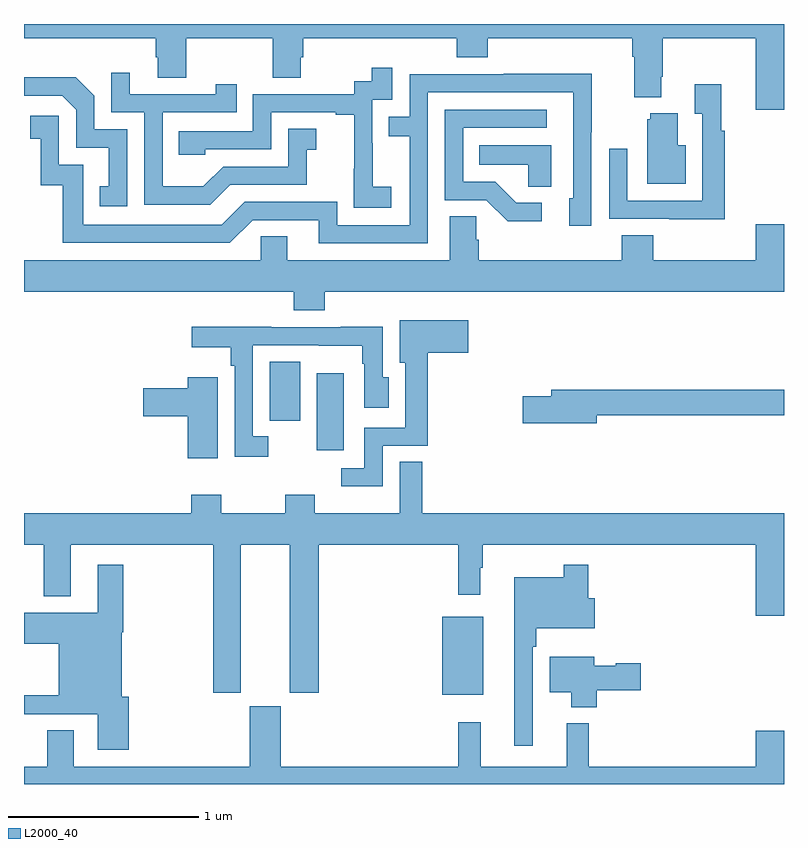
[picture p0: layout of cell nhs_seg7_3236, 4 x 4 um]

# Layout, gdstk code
import gdstk
lib = gdstk.Library(unit=1e-6, precision=1e-09)
def R(c, l, rs):  # rectangles x0, y0, x1, y1
    for r in rs: c.add(gdstk.rectangle(r[:2], r[2:], *l))
def P(c, l, *ps):  # polygons
    for p in ps: c.add(gdstk.Polygon(p, *l))
L2000_40 = (2000, 40)

nhs_seg7_3236 = lib.new_cell('nhs_seg7_3236')
R(nhs_seg7_3236, L2000_40, [(319.202,1022.471,319.417,1022.881), (318.542,1023.756,318.682,1024.162), (318.293,1023.912,318.454,1024.223)])
P(nhs_seg7_3236, L2000_40, [(321,1026),(317,1026),(317,1025.924),(317.693,1025.924),(317.693,1025.826),(317.705,1025.826),(317.705,1025.716),(317.853,1025.716),(317.853,1025.924),(318.31,1025.924),(318.31,1025.716),(318.457,1025.716),(318.457,1025.826),(318.47,1025.826),(318.47,1025.924),(319.277,1025.924),(319.277,1025.825),(319.442,1025.825),(319.442,1025.924),(320.201,1025.924),(320.201,1025.828),(320.213,1025.828),(320.213,1025.615),(320.353,1025.615),(320.353,1025.722),(320.361,1025.722),(320.361,1025.924),(320.852,1025.924),(320.852,1025.55),(321,1025.55)],
  [(318.934,1025.143),(318.836,1025.143),(318.836,1025.372),(318.834,1025.372),(318.834,1025.601),(318.939,1025.601),(318.939,1025.77),(318.831,1025.77),(318.831,1025.7),(318.738,1025.7),(318.738,1025.631),(318.204,1025.631),(318.204,1025.436),(317.815,1025.436),(317.815,1025.313),(317.955,1025.313),(317.955,1025.34),(318.3,1025.34),(318.3,1025.535),(318.641,1025.535),(318.641,1025.523),(318.737,1025.523),(318.737,1025.239),(318.736,1025.239),(318.736,1025.033),(318.934,1025.033)],
  [(318.085,1025.154),(318.489,1025.154),(318.489,1025.339),(318.538,1025.339),(318.538,1025.449),(318.39,1025.449),(318.39,1025.25),(318.048,1025.25),(317.944,1025.146),(317.73,1025.146),(317.73,1025.535),(318.119,1025.535),(318.119,1025.683),(318.008,1025.683),(318.008,1025.631),(317.557,1025.631),(317.557,1025.743),(317.46,1025.743),(317.46,1025.535),(317.634,1025.535),(317.634,1025.049),(317.98,1025.049)],
  [(319.125,1025.64),(319.89,1025.64),(319.89,1025.082),(319.871,1025.082),(319.871,1024.938),(319.986,1024.938),(319.986,1025.431),(319.989,1025.431),(319.989,1025.738),(319.525,1025.738),(319.525,1025.736),(319.029,1025.736),(319.029,1025.511),(318.919,1025.511),(318.919,1025.41),(319.029,1025.41),(319.029,1024.941),(318.648,1024.941),(318.648,1025.064),(318.162,1025.064),(318.042,1024.944),(317.313,1024.944),(317.313,1025.259),(317.184,1025.259),(317.184,1025.518),(317.034,1025.518),(317.034,1025.397),(317.087,1025.397),(317.087,1025.151),(317.205,1025.151),(317.205,1024.848),(318.084,1024.848),(318.204,1024.968),(318.551,1024.968),(318.551,1024.845),(319.125,1024.845)],
  [(317.544,1025.445),(317.37,1025.445),(317.37,1025.622),(317.272,1025.72),(317,1025.72),(317,1025.622),(317.202,1025.622),(317.274,1025.55),(317.274,1025.349),(317.447,1025.349),(317.447,1025.145),(317.398,1025.145),(317.398,1025.04),(317.544,1025.04)],
  [(320.687,1025.438),(320.669,1025.438),(320.669,1025.683),(320.531,1025.683),(320.531,1025.527),(320.571,1025.527),(320.571,1025.07),(320.175,1025.07),(320.175,1025.344),(320.079,1025.344),(320.079,1024.974),(320.395,1024.974),(320.395,1024.973),(320.687,1024.973)],
  [(319.726,1025.058),(319.591,1025.058),(319.48,1025.169),(319.311,1025.169),(319.311,1025.454),(319.75,1025.454),(319.75,1025.55),(319.215,1025.55),(319.215,1025.073),(319.434,1025.073),(319.547,1024.961),(319.726,1024.961)],
  [(320.482,1025.362),(320.44,1025.362),(320.44,1025.53),(320.297,1025.53),(320.297,1025.499),(320.279,1025.499),(320.279,1025.159),(320.482,1025.159)],
  [(319.774,1025.362),(319.396,1025.362),(319.396,1025.258),(319.653,1025.258),(319.653,1025.143),(319.774,1025.143)],
  [(318.584,1024.592),(321,1024.592),(321,1024.945),(320.852,1024.945),(320.852,1024.756),(320.312,1024.756),(320.312,1024.889),(320.147,1024.889),(320.147,1024.756),(319.394,1024.756),(319.394,1024.865),(319.38,1024.865),(319.38,1024.988),(319.241,1024.988),(319.241,1024.756),(318.385,1024.756),(318.385,1024.883),(318.246,1024.883),(318.246,1024.756),(317,1024.756),(317,1024.592),(318.419,1024.592),(318.419,1024.493),(318.584,1024.493)],
  [(318.888,1023.78),(319.126,1023.78),(319.126,1024.271),(319.339,1024.271),(319.339,1024.441),(318.977,1024.441),(318.977,1024.217),(319.007,1024.217),(319.007,1023.876),(318.792,1023.876),(318.792,1023.663),(318.669,1023.663),(318.669,1023.566),(318.888,1023.566)],
  [(318.286,1023.831),(318.204,1023.831),(318.204,1024.308),(318.55,1024.308),(318.55,1024.307),(318.78,1024.307),(318.78,1024.211),(318.792,1024.211),(318.792,1023.981),(318.919,1023.981),(318.919,1024.14),(318.888,1024.14),(318.888,1024.406),(318.667,1024.406),(318.667,1024.404),(318.301,1024.404),(318.301,1024.406),(317.883,1024.406),(317.883,1024.298),(318.088,1024.298),(318.088,1024.202),(318.108,1024.202),(318.108,1023.723),(318.286,1023.723)],
  [(318.019,1024.141),(317.861,1024.141),(317.861,1024.082),(317.628,1024.082),(317.628,1023.935),(317.861,1023.935),(317.861,1023.714),(318.019,1023.714)],
  [(320.014,1023.94),(321,1023.94),(321,1024.076),(319.775,1024.076),(319.775,1024.04),(319.626,1024.04),(319.626,1023.898),(320.014,1023.898)],
  [(319.096,1023.695),(318.977,1023.695),(318.977,1023.424),(318.531,1023.424),(318.531,1023.523),(318.376,1023.523),(318.376,1023.424),(318.039,1023.424),(318.039,1023.523),(317.879,1023.523),(317.879,1023.424),(317,1023.424),(317,1023.26),(317.105,1023.26),(317.105,1022.987),(317.245,1022.987),(317.245,1023.26),(317.995,1023.26),(317.995,1022.481),(318.142,1022.481),(318.142,1023.26),(318.398,1023.26),(318.398,1022.481),(318.551,1022.481),(318.551,1023.26),(319.285,1023.26),(319.285,1022.997),(319.402,1022.997),(319.402,1023.137),(319.414,1023.137),(319.414,1023.26),(320.852,1023.26),(320.852,1022.886),(321,1022.886),(321,1023.424),(319.096,1023.424)],
  [(319.677,1022.723),(319.697,1022.723),(319.697,1022.819),(320.005,1022.819),(320.005,1022.977),(319.97,1022.977),(319.97,1023.154),(319.842,1023.154),(319.842,1023.088),(319.58,1023.088),(319.58,1022.202),(319.677,1022.202)],
  [(317.552,1022.46),(317.515,1022.46),(317.515,1022.798),(317.523,1022.798),(317.523,1023.154),(317.387,1023.154),(317.387,1022.902),(317,1022.902),(317,1022.738),(317.183,1022.738),(317.183,1022.468),(317,1022.468),(317,1022.367),(317.387,1022.367),(317.387,1022.181),(317.552,1022.181)],
  [(320.015,1022.494),(320.245,1022.494),(320.245,1022.636),(320.115,1022.636),(320.115,1022.623),(320.002,1022.623),(320.002,1022.671),(319.766,1022.671),(319.766,1022.483),(319.88,1022.483),(319.88,1022.405),(320.015,1022.405)],
  [(321,1022.281),(320.852,1022.281),(320.852,1022.092),(319.973,1022.092),(319.973,1022.32),(319.856,1022.32),(319.856,1022.092),(319.403,1022.092),(319.403,1022.326),(319.285,1022.326),(319.285,1022.092),(318.352,1022.092),(318.352,1022.409),(318.188,1022.409),(318.188,1022.092),(317.263,1022.092),(317.263,1022.282),(317.123,1022.282),(317.123,1022.092),(317,1022.092),(317,1022),(321,1022)])

lib.write_gds('nhs_seg7_3236.gds')
